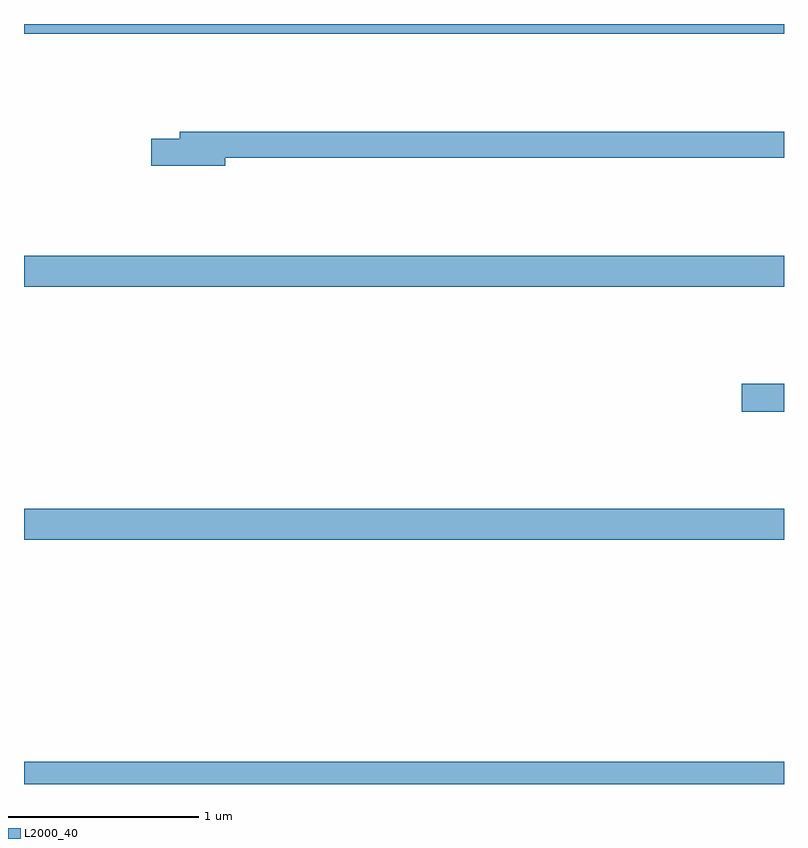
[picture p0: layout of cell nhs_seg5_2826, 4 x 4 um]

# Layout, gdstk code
import gdstk
lib = gdstk.Library(unit=1e-6, precision=1e-09)
def R(c, l, rs):  # rectangles x0, y0, x1, y1
    for r in rs: c.add(gdstk.rectangle(r[:2], r[2:], *l))
def P(c, l, *ps):  # polygons
    for p in ps: c.add(gdstk.Polygon(p, *l))
L2000_40 = (2000, 40)

nhs_seg5_2826 = lib.new_cell('nhs_seg5_2826')
R(nhs_seg5_2826, L2000_40, [(275,864.799,279,864.916), (275,866.084,279,866.248), (278.778,866.759,279,866.906), (275,867.416,279,867.58), (275,868.748,279,868.799)])
P(nhs_seg5_2826, L2000_40, [(276.058,868.096),(279,868.096),(279,868.232),(275.819,868.232),(275.819,868.196),(275.67,868.196),(275.67,868.054),(276.058,868.054)])

lib.write_gds('nhs_seg5_2826.gds')
